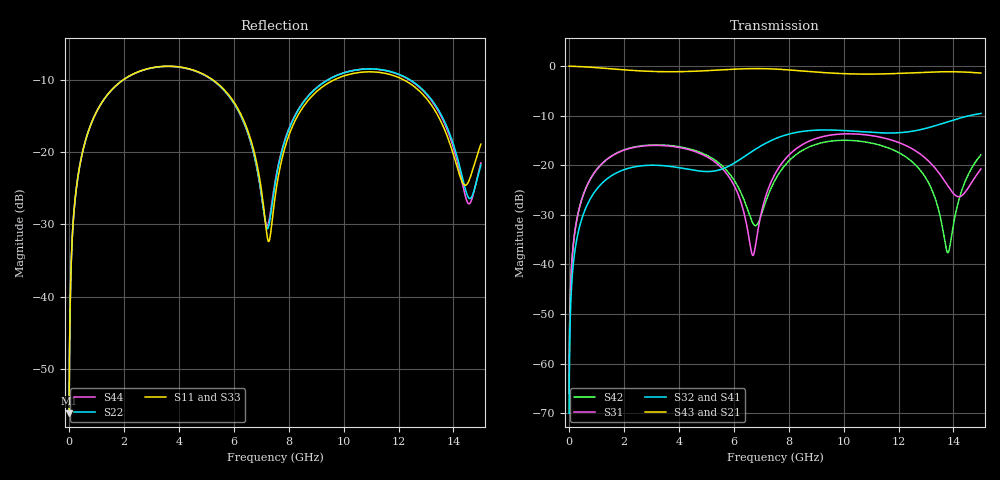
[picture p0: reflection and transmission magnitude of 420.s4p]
! Created with skrf 1.8.0 (http://scikit-rf.org).
# GHz S RI R 50.0
!freq ReS11 ImS11 ReS12 ImS12 ReS13 ImS13
! ReS14 ImS14
! ReS21 ImS21 ReS22 ImS22 ReS23 ImS23
! ReS24 ImS24
! ReS31 ImS31 ReS32 ImS32 ReS33 ImS33
! ReS34 ImS34
! ReS41 ImS41 ReS42 ImS42 ReS43 ImS43
! ReS44 ImS44
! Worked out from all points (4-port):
!   2499 points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, 5 MHz to 15 GHz, reference 50 ohm
!   strongest paths, dB at 5 MHz, 3.476 GHz, 7.19 GHz, 11.1 GHz, 15 GHz:
!     S43: 0.0, -1.1, -0.5, -1.6, -1.4
!     S21: 0.0, -1.1, -0.5, -1.6, -1.4
!     S32: -70.0, -20.1, -15.5, -13.4, -9.5
!     S41: -70.0, -20.1, -15.5, -13.4, -9.5
!     S31: -66.0, -16.0, -25.8, -14.1, -20.7
!     S42: -66.0, -15.9, -26.9, -15.6, -17.9
!   lowest |S11| = -56.1 dB at 5 MHz (marker M1), VSWR 1.00, Z = 50.1 + j0.0945 ohm
!   |S11| at or under -10 dB: start of sweep to 1.974 GHz; 5.24 GHz to 9.656 GHz (4.416 GHz wide, 59.3 % of centre); 12.19 GHz to end of sweep
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0.005  0.00124 0.000942  0.9987 -0.00242  6.14e-05 0.000498  -5.97e-05 -0.00031
       0.9987 -0.00242  0.00124 0.000942  -5.97e-05 -0.00031  6.14e-05 0.000498
       6.14e-05 0.000498  -5.97e-05 -0.00031  0.00124 0.000942  0.9987 -0.00242
       -5.97e-05 -0.00031  6.14e-05 0.000498  0.9987 -0.00242  0.00124 0.000942
0.4126719  0.0229 0.0813  0.9684 -0.1977  0.0108 0.039  -0.00905 -0.024
           0.9684 -0.1977  0.0228 0.0813  -0.00904 -0.024  0.011 0.0389
           0.0108 0.039  -0.00904 -0.024  0.0229 0.0813  0.9684 -0.1977
           -0.00905 -0.024  0.011 0.0389  0.9684 -0.1977  0.0228 0.0813
2.075865  0.2729 0.1778  0.543 -0.735  0.1297 0.0635  -0.0917 -0.00481
          0.543 -0.735  0.2721 0.1784  -0.0916 -0.00493  0.1323 0.0599
          0.1297 0.0635  -0.0916 -0.00493  0.2729 0.1777  0.543 -0.735
          -0.0917 -0.00481  0.1323 0.0599  0.543 -0.735  0.2719 0.1784
7.246769  0.0239 -0.0057  -0.9381 -0.0607  0.0261 0.0505  -0.00493 0.1713
          -0.9381 -0.0607  0.0297 0.00252  -0.00742 0.1713  -0.016 0.0469
          0.0261 0.0505  -0.00742 0.1713  0.0222 -0.00393  -0.9381 -0.0602
          -0.00493 0.1713  -0.016 0.0469  -0.9381 -0.0602  0.0312 0.0042
10.12297  0.3279 0.0966  -0.3452 0.763  0.204 -0.0387  0.223 0.0181
          -0.3452 0.763  0.3473 0.0898  0.2219 0.0217  0.1782 0.0125
          0.204 -0.0387  0.2219 0.0217  0.3285 0.099  -0.3456 0.7626
          0.223 0.0181  0.1782 0.0125  -0.3456 0.7626  0.348 0.0884
13.79325  0.0873 -0.0908  0.7753 0.4112  -0.0484 -0.039  0.1174 -0.2486
          0.7753 0.4112  0.0836 -0.1185  0.1234 -0.2454  0.0131 8.4e-05
          -0.0484 -0.039  0.1234 -0.2454  0.0872 -0.0855  0.7757 0.4116
          0.1174 -0.2486  0.0131 8.4e-05  0.7757 0.4116  0.0793 -0.1153
15  0.0832 0.0771  0.8502 -0.0546  0.013 0.0909  -0.0446 -0.331
    0.8502 -0.0546  0.0635 0.0508  -0.0365 -0.3312  0.0863 0.0938
    0.013 0.0909  -0.0365 -0.3312  0.0867 0.0856  0.8495 -0.055
    -0.0446 -0.331  0.0863 0.0938  0.8495 -0.055  0.0611 0.0579
